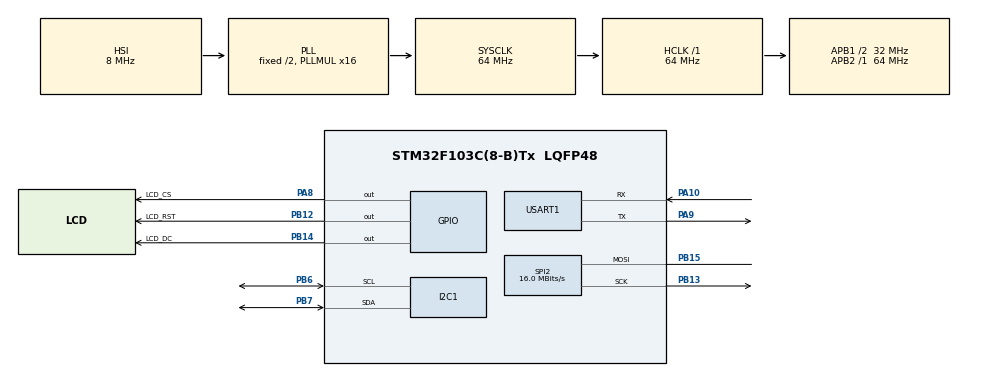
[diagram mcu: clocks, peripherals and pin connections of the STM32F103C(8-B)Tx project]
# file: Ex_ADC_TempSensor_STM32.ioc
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ADC1.Channel-0\#ChannelRegularConversion=ADC_CHANNEL_TEMPSENSOR
ADC1.NbrOfConversionFlag=1
ADC1.Rank-0\#ChannelRegularConversion=1
ADC1.SamplingTime-0\#ChannelRegularConversion=ADC_SAMPLETIME_1CYCLE_5
ADC1.master=1
Mcu.Family=STM32F1
Mcu.Name=STM32F103C(8-B)Tx
Mcu.Package=LQFP48
NVIC.ADC1_2_IRQn=true\:1\:0\:true\:false\:true\:true\:true\:true
NVIC.I2C1_EV_IRQn=true\:3\:0\:true\:false\:true\:true\:true\:true
NVIC.PriorityGroup=NVIC_PRIORITYGROUP_4
NVIC.USART1_IRQn=true\:5\:0\:true\:false\:true\:true\:true\:true
PA10.Mode=Asynchronous
PA10.Signal=USART1_RX
PA13.Mode=Serial_Wire
PA13.Signal=SYS_JTMS-SWDIO
PA14.Mode=Serial_Wire
PA14.Signal=SYS_JTCK-SWCLK
PA8.GPIO_Label=LCD_CS
PA8.Signal=GPIO_Output
PA9.Mode=Asynchronous
PA9.Signal=USART1_TX
PB12.GPIO_Label=LCD_RST
PB12.Signal=GPIO_Output
PB13.Mode=Simplex_Bidirectional_Master
PB13.Signal=SPI2_SCK
PB14.GPIO_Label=LCD_DC
PB14.Signal=GPIO_Output
PB15.Mode=Simplex_Bidirectional_Master
PB15.Signal=SPI2_MOSI
PB6.Mode=I2C
PB6.Signal=I2C1_SCL
PB7.Mode=I2C
PB7.Signal=I2C1_SDA
PD0-OSC_IN.Mode=HSE-External-Clock-Source
PD0-OSC_IN.Signal=RCC_OSC_IN
PD1-OSC_OUT.Mode=HSE-External-Clock-Source
PD1-OSC_OUT.Signal=RCC_OSC_OUT
ProjectManager.HeapSize=0x200
ProjectManager.StackSize=0x400
ProjectManager.TargetToolchain=STM32CubeIDE
RCC.ADCPresc=RCC_ADCPCLK2_DIV6
RCC.AHBFreq_Value=64000000
RCC.APB1CLKDivider=RCC_HCLK_DIV2
RCC.APB1Freq_Value=32000000
RCC.APB1TimFreq_Value=64000000
RCC.APB2Freq_Value=64000000
RCC.APB2TimFreq_Value=64000000
RCC.HCLKFreq_Value=64000000
RCC.PLLMUL=RCC_PLL_MUL16
RCC.SYSCLKFreq_VALUE=64000000
RCC.SYSCLKSource=RCC_SYSCLKSOURCE_PLLCLK
RCC.USBFreq_Value=64000000
SPI2.CalculateBaudRate=16.0 MBits/s
SPI2.Direction=SPI_DIRECTION_1LINE
SPI2.Mode=SPI_MODE_MASTER
SPI2.VirtualType=VM_MASTER
USART1.VirtualMode=VM_ASYNC
VP_ADC1_TempSens_Input.Mode=IN-TempSens
board=custom

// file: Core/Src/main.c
/* USER CODE BEGIN Header */
/**
  ******************************************************************************
  * @file           : main.c
  * @brief          : Main program body
  ******************************************************************************
  * @attention
  *
  * Copyright (c) 2025 STMicroelectronics.
  * All rights reserved.
  *
  * This software is licensed under terms that can be found in the LICENSE file
  * in the root directory of this software component.
  * If no LICENSE file comes with this software, it is provided AS-IS.
  *
  ******************************************************************************
  */
/* USER CODE END Header */
#include "main.h"

/* USER CODE BEGIN Includes */
#include <math.h>
#include "stdio.h"
#include "string.h"
/* USER CODE END Includes */

/* USER CODE BEGIN PM */
#define RTC_ADDESS  0x68<<1
/* USER CODE END PM */

ADC_HandleTypeDef hadc1;

I2C_HandleTypeDef hi2c1;

SPI_HandleTypeDef hspi2;

UART_HandleTypeDef huart1;

void SystemClock_Config(void);
static void MX_GPIO_Init(void);
static void MX_ADC1_Init(void);
static void MX_USART1_UART_Init(void);
static void MX_I2C1_Init(void);
static void MX_SPI2_Init(void);

/* USER CODE BEGIN 0 */

float TempValue = 0;
uint8_t data_rx;

int16_t Accel_X, Accel_Y, Accel_Z;
float angleX, angleY;

uint16_t Get_ADC_channel(uint32_t channel){
	  uint16_t adc;
//---------------Congig channel-------------

	  ADC_ChannelConfTypeDef sConfig = {0};
	  sConfig.Channel = channel;
	  sConfig.Rank = ADC_REGULAR_RANK_1;
	  sConfig.SamplingTime = ADC_SAMPLETIME_239CYCLES_5;
	  if (HAL_ADC_ConfigChannel(&hadc1, &sConfig) != HAL_OK)
	  {
	    Error_Handler();
	  }

//---------------Read value---------------
	  HAL_ADC_Start(&hadc1);
	  HAL_ADC_PollForConversion(&hadc1, 1000);
	  adc = HAL_ADC_GetValue(&hadc1);
	  HAL_ADC_Stop(&hadc1);
	  return adc;
}

//Đo 1 kênh
//float Read_Temperature(void)
//{
//    uint32_t adc_raw = 0;
//    float Vsense = 0.0f;
//    float temperature = 0.0f;
//
//    ADC1->CR2 |= ADC_CR2_TSVREFE;
//
//    adc_raw = Get_ADC_channel(ADC_CHANNEL_TEMPSENSOR);
//
//
//    Vsense = ((float)adc_raw) * 3.3f / 4095.0f;
//
//
//    float V25 = 1.4f;
//    float Avg_Slope = 0.004478;
//
//    temperature = ((V25 - Vsense) / Avg_Slope) + 25.0f;
//
//    return temperature;
//}

//Đo 2 kênh
float Read_Temperature(void)
{
    uint32_t adc_raw = 0;
    uint32_t adc_ref = 0;
    float Vsense = 0.0f;
    float vref_Cal;
    float temperature = 0.0f;

    ADC1->CR2 |= ADC_CR2_TSVREFE;

    adc_raw = Get_ADC_channel(ADC_CHANNEL_TEMPSENSOR);
    adc_ref = Get_ADC_channel(ADC_CHANNEL_VREFINT);

    uint16_t vrefint_cal = 1500;
    vref_Cal = 3.3f * ((float)vrefint_cal / (float)adc_ref);

	Vsense = vref_Cal * ((float)adc_raw / 4095.0f);

    float V25 = 1.4f;
    float Avg_Slope = 0.004478;

    temperature = ((V25 - Vsense) / Avg_Slope) + 25.0f;

    return temperature;
}

void HAL_UART_RxCpltCallback(UART_HandleTypeDef *huart){
	if (data_rx == '1'){
		char *str = "Name: Pham Nhat Tan\nStudent ID: 20210768\n";
			  HAL_UART_Transmit(&huart1,(uint8_t *) str, strlen(str), 300);
	}else if (data_rx == '0'){
		char *str = "Hello World \n";
			  HAL_UART_Transmit(&huart1,(uint8_t *) str, strlen(str), 300);
	}
	HAL_UART_Receive_IT(&huart1, &data_rx, 1);
}

int _write(int fd, char * ptr, int len) {
  HAL_UART_Transmit( & huart1, (uint8_t * ) ptr, len, HAL_MAX_DELAY);
  return len;
}

typedef struct
{
	uint8_t second;
	uint8_t minutes;
	uint8_t hours;
	uint8_t day;
	uint8_t date;
	uint8_t month;
	uint8_t year;
}Datetime;
Datetime date_time;

uint8_t Decimal2BCD(uint8_t num){
	return (num/10)<<4|(num%10);
}

uint8_t BCD2Decimal(uint8_t num){
	return (num>>4)*10+(num&0x0F);
}

void Print_DateTime(Datetime* dt)
{
    printf(" %02d:%02d:%02d   %d, %02d/%02d/20%02d\r\n",
           dt->hours, dt->minutes, dt->second,
           dt->day,
           dt->date, dt->month, dt->year);
}

void RTC_Writetime(Datetime *dt){
	uint8_t buff[8];
	buff[0] = 0;
	buff[1] = Decimal2BCD(dt->second);
	buff[2] = Decimal2BCD(dt->minutes);
	buff[3] = Decimal2BCD(dt->hours);
	buff[4] = Decimal2BCD(dt->day);
	buff[5] = Decimal2BCD(dt->date);
	buff[6] = Decimal2BCD(dt->month);
	buff[7] = Decimal2BCD(dt->year);
	HAL_I2C_Master_Transmit(&hi2c1,  RTC_ADDESS, buff, 8, 100);
}

void RTC_Readtime(Datetime *dt){
	uint8_t buff[8];
	uint8_t addr_reg = 0;
	HAL_I2C_Master_Transmit(&hi2c1, RTC_ADDESS, &addr_reg, 1, 100);
	HAL_I2C_Master_Receive(&hi2c1, RTC_ADDESS, buff, 7, 100);
	dt->second = BCD2Decimal(buff[0]);
	dt->minutes = BCD2Decimal(buff[1]);
	dt->hours = BCD2Decimal(buff[2]);
	dt->day = BCD2Decimal(buff[3]);
	dt->date = BCD2Decimal(buff[4]);
	dt->month = BCD2Decimal(buff[5]);
	dt->year = BCD2Decimal(buff[6]);
	Print_DateTime(&date_time);
}
/* USER CODE END 0 */

int main(void)
{

  /* MCU Configuration--------------------------------------------------------*/

  /* Reset of all peripherals, Initializes the Flash interface and the Systick. */
  HAL_Init();

  /* Configure the system clock */
  SystemClock_Config();

  /* Initialize all configured peripherals */
  MX_GPIO_Init();
  MX_ADC1_Init();
  MX_USART1_UART_Init();
  MX_I2C1_Init();
  MX_SPI2_Init();
  /* USER CODE BEGIN 2 */
  HAL_UART_Receive_IT(&huart1, &data_rx, 1);

  date_time.second = 50;
  date_time.minutes = 51;
  date_time.hours = 7;
  date_time.day = 2;
  date_time.date = 6;
  date_time.month = 11;
  date_time.year = 23;
  RTC_Writetime(&date_time);
  /* USER CODE END 2 */

  /* Infinite loop */
  while (1)
  {

    /* USER CODE BEGIN 3 */
	  TempValue = Read_Temperature();

	  printf("Temperature STM32 is: %.2f\n", TempValue);

	  RTC_Readtime(&date_time);
	  HAL_Delay(1000);
  }
  /* USER CODE END 3 */
}

void SystemClock_Config(void)
{
  RCC_OscInitTypeDef RCC_OscInitStruct = {0};
  RCC_ClkInitTypeDef RCC_ClkInitStruct = {0};
  RCC_PeriphCLKInitTypeDef PeriphClkInit = {0};

  /** Initializes the RCC Oscillators according to the specified parameters
  * in the RCC_OscInitTypeDef structure.
  */
  RCC_OscInitStruct.OscillatorType = RCC_OSCILLATORTYPE_HSI;
  RCC_OscInitStruct.HSIState = RCC_HSI_ON;
  RCC_OscInitStruct.HSICalibrationValue = RCC_HSICALIBRATION_DEFAULT;
  RCC_OscInitStruct.PLL.PLLState = RCC_PLL_ON;
  RCC_OscInitStruct.PLL.PLLSource = RCC_PLLSOURCE_HSI_DIV2;
  RCC_OscInitStruct.PLL.PLLMUL = RCC_PLL_MUL16;
  if (HAL_RCC_OscConfig(&RCC_OscInitStruct) != HAL_OK)
  {
    Error_Handler();
  }

  /** Initializes the CPU, AHB and APB buses clocks
  */
  RCC_ClkInitStruct.ClockType = RCC_CLOCKTYPE_HCLK|RCC_CLOCKTYPE_SYSCLK
                              |RCC_CLOCKTYPE_PCLK1|RCC_CLOCKTYPE_PCLK2;
  RCC_ClkInitStruct.SYSCLKSource = RCC_SYSCLKSOURCE_PLLCLK;
  RCC_ClkInitStruct.AHBCLKDivider = RCC_SYSCLK_DIV1;
  RCC_ClkInitStruct.APB1CLKDivider = RCC_HCLK_DIV2;
  RCC_ClkInitStruct.APB2CLKDivider = RCC_HCLK_DIV1;

  if (HAL_RCC_ClockConfig(&RCC_ClkInitStruct, FLASH_LATENCY_2) != HAL_OK)
  {
    Error_Handler();
  }
  PeriphClkInit.PeriphClockSelection = RCC_PERIPHCLK_ADC;
  PeriphClkInit.AdcClockSelection = RCC_ADCPCLK2_DIV6;
  if (HAL_RCCEx_PeriphCLKConfig(&PeriphClkInit) != HAL_OK)
  {
    Error_Handler();
  }
}

static void MX_ADC1_Init(void)
{

  ADC_ChannelConfTypeDef sConfig = {0};

  /** Common config
  */
  hadc1.Instance = ADC1;
  hadc1.Init.ScanConvMode = ADC_SCAN_DISABLE;
  hadc1.Init.ContinuousConvMode = DISABLE;
  hadc1.Init.DiscontinuousConvMode = DISABLE;
  hadc1.Init.ExternalTrigConv = ADC_SOFTWARE_START;
  hadc1.Init.DataAlign = ADC_DATAALIGN_RIGHT;
  hadc1.Init.NbrOfConversion = 1;
  if (HAL_ADC_Init(&hadc1) != HAL_OK)
  {
    Error_Handler();
  }

  /** Configure Regular Channel
  */
  sConfig.Channel = ADC_CHANNEL_TEMPSENSOR;
  sConfig.Rank = ADC_REGULAR_RANK_1;
  sConfig.SamplingTime = ADC_SAMPLETIME_1CYCLE_5;
  if (HAL_ADC_ConfigChannel(&hadc1, &sConfig) != HAL_OK)
  {
    Error_Handler();
  }

}

static void MX_I2C1_Init(void)
{

  hi2c1.Instance = I2C1;
  hi2c1.Init.ClockSpeed = 100000;
  hi2c1.Init.DutyCycle = I2C_DUTYCYCLE_2;
  hi2c1.Init.OwnAddress1 = 0;
  hi2c1.Init.AddressingMode = I2C_ADDRESSINGMODE_7BIT;
  hi2c1.Init.DualAddressMode = I2C_DUALADDRESS_DISABLE;
  hi2c1.Init.OwnAddress2 = 0;
  hi2c1.Init.GeneralCallMode = I2C_GENERALCALL_DISABLE;
  hi2c1.Init.NoStretchMode = I2C_NOSTRETCH_DISABLE;
  if (HAL_I2C_Init(&hi2c1) != HAL_OK)
  {
    Error_Handler();
  }

}

static void MX_SPI2_Init(void)
{

  /* SPI2 parameter configuration*/
  hspi2.Instance = SPI2;
  hspi2.Init.Mode = SPI_MODE_MASTER;
  hspi2.Init.Direction = SPI_DIRECTION_1LINE;
  hspi2.Init.DataSize = SPI_DATASIZE_8BIT;
  hspi2.Init.CLKPolarity = SPI_POLARITY_LOW;
  hspi2.Init.CLKPhase = SPI_PHASE_1EDGE;
  hspi2.Init.NSS = SPI_NSS_SOFT;
  hspi2.Init.BaudRatePrescaler = SPI_BAUDRATEPRESCALER_2;
  hspi2.Init.FirstBit = SPI_FIRSTBIT_MSB;
  hspi2.Init.TIMode = SPI_TIMODE_DISABLE;
  hspi2.Init.CRCCalculation = SPI_CRCCALCULATION_DISABLE;
  hspi2.Init.CRCPolynomial = 10;
  if (HAL_SPI_Init(&hspi2) != HAL_OK)
  {
    Error_Handler();
  }

}

static void MX_USART1_UART_Init(void)
{

  huart1.Instance = USART1;
  huart1.Init.BaudRate = 115200;
  huart1.Init.WordLength = UART_WORDLENGTH_8B;
  huart1.Init.StopBits = UART_STOPBITS_1;
  huart1.Init.Parity = UART_PARITY_NONE;
  huart1.Init.Mode = UART_MODE_TX_RX;
  huart1.Init.HwFlowCtl = UART_HWCONTROL_NONE;
  huart1.Init.OverSampling = UART_OVERSAMPLING_16;
  if (HAL_UART_Init(&huart1) != HAL_OK)
  {
    Error_Handler();
  }

}

static void MX_GPIO_Init(void)
{
  GPIO_InitTypeDef GPIO_InitStruct = {0};

  /* GPIO Ports Clock Enable */
  __HAL_RCC_GPIOD_CLK_ENABLE();
  __HAL_RCC_GPIOB_CLK_ENABLE();
  __HAL_RCC_GPIOA_CLK_ENABLE();

  /*Configure GPIO pin Output Level */
  HAL_GPIO_WritePin(GPIOB, LCD_RST_Pin|LCD_DC_Pin, GPIO_PIN_RESET);

  /*Configure GPIO pin Output Level */
  HAL_GPIO_WritePin(LCD_CS_GPIO_Port, LCD_CS_Pin, GPIO_PIN_RESET);

  /*Configure GPIO pins : LCD_RST_Pin LCD_DC_Pin */
  GPIO_InitStruct.Pin = LCD_RST_Pin|LCD_DC_Pin;
  GPIO_InitStruct.Mode = GPIO_MODE_OUTPUT_PP;
  GPIO_InitStruct.Pull = GPIO_NOPULL;
  GPIO_InitStruct.Speed = GPIO_SPEED_FREQ_LOW;
  HAL_GPIO_Init(GPIOB, &GPIO_InitStruct);

  /*Configure GPIO pin : LCD_CS_Pin */
  GPIO_InitStruct.Pin = LCD_CS_Pin;
  GPIO_InitStruct.Mode = GPIO_MODE_OUTPUT_PP;
  GPIO_InitStruct.Pull = GPIO_NOPULL;
  GPIO_InitStruct.Speed = GPIO_SPEED_FREQ_LOW;
  HAL_GPIO_Init(LCD_CS_GPIO_Port, &GPIO_InitStruct);

}

void Error_Handler(void)
{
  __disable_irq();
  while (1)
  {
  }
}
